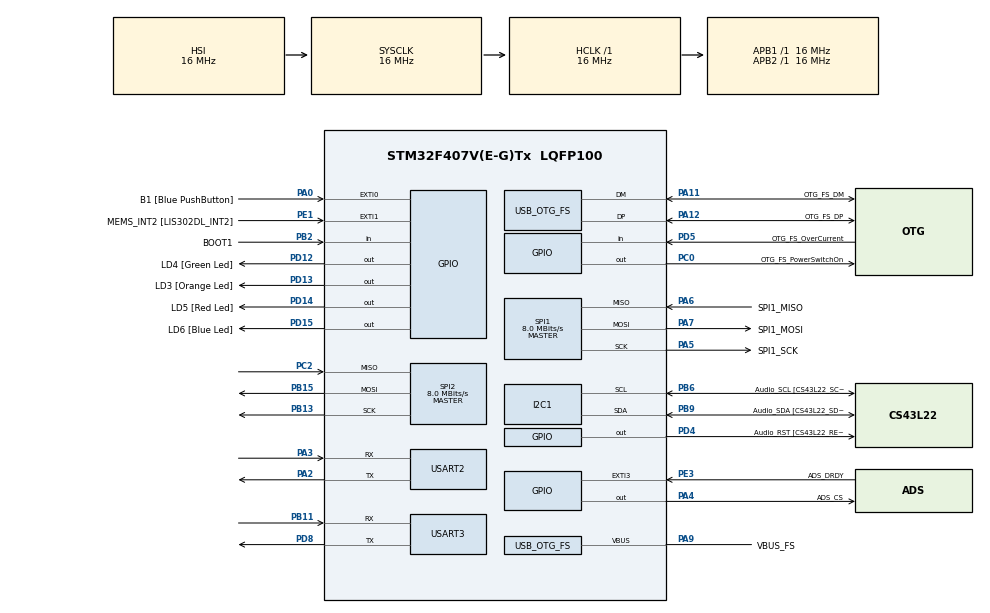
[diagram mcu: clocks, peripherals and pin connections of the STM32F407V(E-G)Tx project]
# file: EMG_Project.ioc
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Dma.Request0=USART3_TX
Dma.USART3_TX.0.Direction=DMA_MEMORY_TO_PERIPH
Dma.USART3_TX.0.FIFOMode=DMA_FIFOMODE_DISABLE
Dma.USART3_TX.0.Instance=DMA1_Stream3
Dma.USART3_TX.0.MemDataAlignment=DMA_MDATAALIGN_BYTE
Dma.USART3_TX.0.MemInc=DMA_MINC_ENABLE
Dma.USART3_TX.0.Mode=DMA_NORMAL
Dma.USART3_TX.0.PeriphDataAlignment=DMA_PDATAALIGN_BYTE
Dma.USART3_TX.0.PeriphInc=DMA_PINC_DISABLE
Dma.USART3_TX.0.Priority=DMA_PRIORITY_LOW
Mcu.Family=STM32F4
Mcu.Name=STM32F407V(E-G)Tx
Mcu.Package=LQFP100
NVIC.DMA1_Stream3_IRQn=true\:0\:0\:false\:false\:true\:false\:true
NVIC.EXTI3_IRQn=true\:0\:0\:false\:false\:true\:true\:true
NVIC.OTG_FS_IRQn=true\:0\:0\:false\:false\:true\:true\:true
NVIC.PriorityGroup=NVIC_PRIORITYGROUP_0
NVIC.USART2_IRQn=true\:0\:0\:false\:false\:true\:true\:true
NVIC.USART3_IRQn=true\:0\:0\:false\:false\:true\:true\:true
PA0-WKUP.GPIO_Label=B1 [Blue PushButton]
PA0-WKUP.GPIO_ModeDefaultEXTI=GPIO_MODE_EVT_RISING
PA0-WKUP.GPIO_PuPd=GPIO_NOPULL
PA0-WKUP.Signal=GPXTI0
PA10.GPIO_Label=OTG_FS_ID
PA10.GPIO_Mode=GPIO_MODE_AF_PP
PA10.GPIO_PuPd=GPIO_NOPULL
PA10.GPIO_Speed=GPIO_SPEED_FREQ_LOW
PA10.Signal=USB_OTG_FS_ID
PA11.GPIO_Label=OTG_FS_DM
PA11.GPIO_Mode=GPIO_MODE_AF_PP
PA11.GPIO_PuPd=GPIO_NOPULL
PA11.GPIO_Speed=GPIO_SPEED_FREQ_LOW
PA11.Mode=Host_Only
PA11.Signal=USB_OTG_FS_DM
PA12.GPIO_Label=OTG_FS_DP
PA12.GPIO_Mode=GPIO_MODE_AF_PP
PA12.GPIO_PuPd=GPIO_NOPULL
PA12.GPIO_Speed=GPIO_SPEED_FREQ_LOW
PA12.Mode=Host_Only
PA12.Signal=USB_OTG_FS_DP
PA13.GPIO_Label=SWDIO
PA13.Mode=Serial_Wire
PA13.Signal=SYS_JTMS-SWDIO
PA14.GPIO_Label=SWCLK
PA14.Mode=Serial_Wire
PA14.Signal=SYS_JTCK-SWCLK
PA2.Mode=Asynchronous
PA2.Signal=USART2_TX
PA3.Mode=Asynchronous
PA3.Signal=USART2_RX
PA4.GPIO_Label=ADS_CS
PA4.PinState=GPIO_PIN_SET
PA4.Signal=GPIO_Output
PA5.GPIO_Label=SPI1_SCK
PA5.GPIO_Mode=GPIO_MODE_AF_PP
PA5.GPIO_PuPd=GPIO_NOPULL
PA5.GPIO_Speed=GPIO_SPEED_FREQ_LOW
PA5.Mode=Full_Duplex_Master
PA5.Signal=SPI1_SCK
PA6.GPIO_Label=SPI1_MISO
PA6.GPIO_Mode=GPIO_MODE_AF_PP
PA6.GPIO_PuPd=GPIO_NOPULL
PA6.GPIO_Speed=GPIO_SPEED_FREQ_LOW
PA6.Mode=Full_Duplex_Master
PA6.Signal=SPI1_MISO
PA7.GPIO_Label=SPI1_MOSI
PA7.GPIO_Mode=GPIO_MODE_AF_PP
PA7.GPIO_PuPd=GPIO_NOPULL
PA7.GPIO_Speed=GPIO_SPEED_FREQ_LOW
PA7.Mode=Full_Duplex_Master
PA7.Signal=SPI1_MOSI
PA9.GPIO_Label=VBUS_FS
PA9.GPIO_Mode=GPIO_MODE_INPUT
PA9.GPIO_PuPd=GPIO_NOPULL
PA9.Mode=Activate_VBUS
PA9.Signal=USB_OTG_FS_VBUS
PB10.GPIO_Label=CLK_IN [MP45DT02_CLK]
PB10.GPIO_Mode=GPIO_MODE_AF_PP
PB10.GPIO_PuPd=GPIO_NOPULL
PB10.GPIO_Speed=GPIO_SPEED_FREQ_LOW
PB10.Signal=I2S2_CK
PB11.Mode=Asynchronous
PB11.Signal=USART3_RX
PB13.Mode=Full_Duplex_Master
PB13.Signal=SPI2_SCK
PB15.Mode=Full_Duplex_Master
PB15.Signal=SPI2_MOSI
PB2.GPIO_Label=BOOT1
PB2.GPIO_Mode=GPIO_MODE_INPUT
PB2.GPIO_PuPd=GPIO_NOPULL
PB2.Signal=GPIO_Input
PB3.GPIO_Label=SWO
PB3.Signal=SYS_JTDO-SWO
PB6.GPIO_Label=Audio_SCL [CS43L22_SCL]
PB6.GPIO_Mode=GPIO_MODE_AF_OD
PB6.GPIO_PuPd=GPIO_NOPULL
PB6.GPIO_Speed=GPIO_SPEED_FREQ_LOW
PB6.Mode=I2C
PB6.Signal=I2C1_SCL
PB9.GPIO_Label=Audio_SDA [CS43L22_SDA]
PB9.GPIO_Mode=GPIO_MODE_AF_OD
PB9.GPIO_PuPd=GPIO_NOPULL
PB9.GPIO_Speed=GPIO_SPEED_FREQ_LOW
PB9.Mode=I2C
PB9.Signal=I2C1_SDA
PC0.GPIO_Label=OTG_FS_PowerSwitchOn
PC0.GPIO_PuPd=GPIO_NOPULL
PC0.GPIO_Speed=GPIO_SPEED_FREQ_LOW
PC0.PinState=GPIO_PIN_SET
PC0.Signal=GPIO_Output
PC10.GPIO_Label=I2S3_SCK [CS43L22_SCLK]
PC10.GPIO_Mode=GPIO_MODE_AF_PP
PC10.GPIO_PuPd=GPIO_NOPULL
PC10.GPIO_Speed=GPIO_SPEED_FREQ_LOW
PC10.Signal=I2S3_CK
PC12.GPIO_Label=I2S3_SD [CS43L22_SDIN]
PC12.GPIO_Mode=GPIO_MODE_AF_PP
PC12.GPIO_PuPd=GPIO_NOPULL
PC12.GPIO_Speed=GPIO_SPEED_FREQ_LOW
PC12.Signal=I2S3_SD
PC14-OSC32_IN.GPIO_Label=PC14-OSC32_IN
PC14-OSC32_IN.Mode=LSE-External-Oscillator
PC14-OSC32_IN.Signal=RCC_OSC32_IN
PC15-OSC32_OUT.GPIO_Label=PC15-OSC32_OUT
PC15-OSC32_OUT.Mode=LSE-External-Oscillator
PC15-OSC32_OUT.Signal=RCC_OSC32_OUT
PC2.Mode=Full_Duplex_Master
PC2.Signal=SPI2_MISO
PC3.GPIO_Label=PDM_OUT [MP45DT02_DOUT]
PC3.GPIO_Mode=GPIO_MODE_AF_PP
PC3.GPIO_PuPd=GPIO_NOPULL
PC3.GPIO_Speed=GPIO_SPEED_FREQ_LOW
PC3.Signal=I2S2_SD
PC7.GPIO_Label=I2S3_MCK [CS43L22_MCLK]
PC7.GPIO_Mode=GPIO_MODE_AF_PP
PC7.GPIO_PuPd=GPIO_NOPULL
PC7.GPIO_Speed=GPIO_SPEED_FREQ_LOW
PC7.Signal=I2S3_MCK
PD12.GPIO_Label=LD4 [Green Led]
PD12.GPIO_PuPd=GPIO_NOPULL
PD12.GPIO_Speed=GPIO_SPEED_FREQ_LOW
PD12.Signal=GPIO_Output
PD13.GPIO_Label=LD3 [Orange Led]
PD13.GPIO_PuPd=GPIO_NOPULL
PD13.GPIO_Speed=GPIO_SPEED_FREQ_LOW
PD13.Signal=GPIO_Output
PD14.GPIO_Label=LD5 [Red Led]
PD14.GPIO_PuPd=GPIO_NOPULL
PD14.GPIO_Speed=GPIO_SPEED_FREQ_LOW
PD14.Signal=GPIO_Output
PD15.GPIO_Label=LD6 [Blue Led]
PD15.GPIO_PuPd=GPIO_NOPULL
PD15.GPIO_Speed=GPIO_SPEED_FREQ_LOW
PD15.Signal=GPIO_Output
PD4.GPIO_Label=Audio_RST [CS43L22_RESET]
PD4.GPIO_PuPd=GPIO_NOPULL
PD4.GPIO_Speed=GPIO_SPEED_FREQ_LOW
PD4.Signal=GPIO_Output
PD5.GPIO_Label=OTG_FS_OverCurrent
PD5.GPIO_Mode=GPIO_MODE_INPUT
PD5.GPIO_PuPd=GPIO_NOPULL
PD5.Signal=GPIO_Input
PD8.Mode=Asynchronous
PD8.Signal=USART3_TX
PE1.GPIO_Label=MEMS_INT2 [LIS302DL_INT2]
PE1.GPIO_ModeDefaultEXTI=GPIO_MODE_EVT_RISING
PE1.GPIO_PuPd=GPIO_NOPULL
PE1.Signal=GPXTI1
PE3.GPIO_Label=ADS_DRDY
PE3.GPIO_PuPd=GPIO_PULLDOWN
PE3.Signal=GPXTI3
PH0-OSC_IN.GPIO_Label=PH0-OSC_IN
PH0-OSC_IN.Mode=HSE-External-Oscillator
PH0-OSC_IN.Signal=RCC_OSC_IN
PH1-OSC_OUT.GPIO_Label=PH1-OSC_OUT
PH1-OSC_OUT.Mode=HSE-External-Oscillator
PH1-OSC_OUT.Signal=RCC_OSC_OUT
ProjectManager.HeapSize=0x200
ProjectManager.StackSize=0x400
ProjectManager.TargetToolchain=SW4STM32
RCC.48MHZClocksFreq_Value=48000000
RCC.AHBFreq_Value=16000000
RCC.APB1Freq_Value=16000000
RCC.APB1TimFreq_Value=16000000
RCC.APB2Freq_Value=16000000
RCC.APB2TimFreq_Value=16000000
RCC.CortexFreq_Value=16000000
RCC.HCLKFreq_Value=16000000
RCC.HSE_VALUE=16000000
RCC.HSI_VALUE=16000000
RCC.PLLM=8
RCC.PLLN=72
RCC.PLLQ=3
RCC.SYSCLKFreq_VALUE=16000000
RCC.VCOOutputFreq_Value=144000000
SPI1.BaudRatePrescaler-Full_Duplex_Master=SPI_BAUDRATEPRESCALER_2
SPI1.CLKPhase=SPI_PHASE_2EDGE
SPI1.CalculateBaudRate=8.0 MBits/s
SPI1.CalculateBaudRate-Full_Duplex_Master=42.0 MBits/s
SPI1.Direction=SPI_DIRECTION_2LINES
SPI1.Mode=SPI_MODE_MASTER
SPI1.Mode-Full_Duplex_Master=SPI_MODE_MASTER
SPI1.VirtualType=VM_MASTER
SPI2.CLKPhase=SPI_PHASE_2EDGE
SPI2.CalculateBaudRate=8.0 MBits/s
SPI2.Direction=SPI_DIRECTION_2LINES
SPI2.Mode=SPI_MODE_MASTER
SPI2.VirtualType=VM_MASTER
USART2.VirtualMode=VM_ASYNC
USART3.VirtualMode=VM_ASYNC
USB_HOST.BSP.number=1
USB_HOST.USBH_HandleTypeDef-CDC_FS=hUsbHostFS
USB_HOST.VirtualModeFS=Cdc
USB_HOST0.BSP.STBoard=false
USB_HOST0.BSP.api=Unknown
USB_HOST0.BSP.i2caddr=0
USB_HOST0.BSP.i2creg=0
USB_HOST0.BSP.instance=PC0
USB_HOST0.BSP.ip=GPIO
USB_HOST0.BSP.mode=Output
USB_HOST0.BSP.name=Drive_VBUS_FS
USB_HOST0.BSP.solution=PC0
USB_OTG_FS.VirtualMode=Host_Only
USB_OTG_FS.phy_itface=HCD_PHY_EMBEDDED
VP_USB_HOST_VS_USB_HOST_CDC_FS.Mode=CDC_FS
board=STM32F407G-DISC1

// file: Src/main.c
/* USER CODE BEGIN Header */
/**
  ******************************************************************************
  * @file           : main.c
  * @brief          : Main program body
  ******************************************************************************
  * @attention
  *
  * <h2><center>&copy; Copyright (c) 2020 STMicroelectronics.
  * All rights reserved.</center></h2>
  *
  * This software component is licensed by ST under Ultimate Liberty license
  * SLA0044, the "License"; You may not use this file except in compliance with
  * the License. You may obtain a copy of the License at:
  *                             www.st.com/SLA0044
  *
  ******************************************************************************
  */
/* USER CODE END Header */

#include "main.h"
#include "usb_host.h"

/* USER CODE BEGIN Includes */
#include "ADS1292.h"

/* USER CODE END Includes */

I2C_HandleTypeDef hi2c1;

SPI_HandleTypeDef hspi1;
SPI_HandleTypeDef hspi2;

UART_HandleTypeDef huart2;
UART_HandleTypeDef huart3;
DMA_HandleTypeDef hdma_usart3_tx;

void SystemClock_Config(void);
static void MX_GPIO_Init(void);
static void MX_I2C1_Init(void);
static void MX_SPI1_Init(void);
static void MX_SPI2_Init(void);
static void MX_USART2_UART_Init(void);
static void MX_USART3_UART_Init(void);
static void MX_DMA_Init(void);
void MX_USB_HOST_Process(void);

/* USER CODE BEGIN PFP */
void UART_Send(uint8_t* cmd);
void UART_Send2Byte(uint8_t* fb);
void UART_Send4Byte(uint8_t* fb);

/* USER CODE END PFP */

int main(void)
{

  /* MCU Configuration--------------------------------------------------------*/

  /* Reset of all peripherals, Initializes the Flash interface and the Systick. */
  HAL_Init();

  /* Configure the system clock */
  SystemClock_Config();

  /* Initialize all configured peripherals */
  MX_GPIO_Init();
  MX_I2C1_Init();
  MX_SPI1_Init();
  MX_SPI2_Init();
  MX_USART2_UART_Init();
  MX_USART3_UART_Init();
  MX_USB_HOST_Init();
  MX_DMA_Init();

  /* Infinite loop */
  while (1)
  {
    MX_USB_HOST_Process();

    /* USER CODE BEGIN 3 */
      if(intDRDY){
          intDRDY = false;
          ADS_RDATA();
          ADS_START();
      }
  }
  /* USER CODE END 3 */
}

void SystemClock_Config(void)
{
  RCC_OscInitTypeDef RCC_OscInitStruct = {0};
  RCC_ClkInitTypeDef RCC_ClkInitStruct = {0};

  /** Configure the main internal regulator output voltage
  */
  __HAL_RCC_PWR_CLK_ENABLE();
  __HAL_PWR_VOLTAGESCALING_CONFIG(PWR_REGULATOR_VOLTAGE_SCALE1);
  /** Initializes the CPU, AHB and APB busses clocks
  */
  RCC_OscInitStruct.OscillatorType = RCC_OSCILLATORTYPE_HSI|RCC_OSCILLATORTYPE_HSE;
  RCC_OscInitStruct.HSEState = RCC_HSE_ON;
  RCC_OscInitStruct.HSIState = RCC_HSI_ON;
  RCC_OscInitStruct.HSICalibrationValue = RCC_HSICALIBRATION_DEFAULT;
  RCC_OscInitStruct.PLL.PLLState = RCC_PLL_ON;
  RCC_OscInitStruct.PLL.PLLSource = RCC_PLLSOURCE_HSE;
  RCC_OscInitStruct.PLL.PLLM = 8;
  RCC_OscInitStruct.PLL.PLLN = 72;
  RCC_OscInitStruct.PLL.PLLP = RCC_PLLP_DIV2;
  RCC_OscInitStruct.PLL.PLLQ = 3;
  if (HAL_RCC_OscConfig(&RCC_OscInitStruct) != HAL_OK)
  {
    Error_Handler();
  }
  /** Initializes the CPU, AHB and APB busses clocks
  */
  RCC_ClkInitStruct.ClockType = RCC_CLOCKTYPE_HCLK|RCC_CLOCKTYPE_SYSCLK
                              |RCC_CLOCKTYPE_PCLK1|RCC_CLOCKTYPE_PCLK2;
  RCC_ClkInitStruct.SYSCLKSource = RCC_SYSCLKSOURCE_HSI;
  RCC_ClkInitStruct.AHBCLKDivider = RCC_SYSCLK_DIV1;
  RCC_ClkInitStruct.APB1CLKDivider = RCC_HCLK_DIV1;
  RCC_ClkInitStruct.APB2CLKDivider = RCC_HCLK_DIV1;

  if (HAL_RCC_ClockConfig(&RCC_ClkInitStruct, FLASH_LATENCY_0) != HAL_OK)
  {
    Error_Handler();
  }
}

static void MX_I2C1_Init(void)
{

  hi2c1.Instance = I2C1;
  hi2c1.Init.ClockSpeed = 100000;
  hi2c1.Init.DutyCycle = I2C_DUTYCYCLE_2;
  hi2c1.Init.OwnAddress1 = 0;
  hi2c1.Init.AddressingMode = I2C_ADDRESSINGMODE_7BIT;
  hi2c1.Init.DualAddressMode = I2C_DUALADDRESS_DISABLE;
  hi2c1.Init.OwnAddress2 = 0;
  hi2c1.Init.GeneralCallMode = I2C_GENERALCALL_DISABLE;
  hi2c1.Init.NoStretchMode = I2C_NOSTRETCH_DISABLE;
  if (HAL_I2C_Init(&hi2c1) != HAL_OK)
  {
    Error_Handler();
  }

}

static void MX_SPI1_Init(void)
{

  /* SPI1 parameter configuration*/
  hspi1.Instance = SPI1;
  hspi1.Init.Mode = SPI_MODE_MASTER;
  hspi1.Init.Direction = SPI_DIRECTION_2LINES;
  hspi1.Init.DataSize = SPI_DATASIZE_8BIT;
  hspi1.Init.CLKPolarity = SPI_POLARITY_LOW;
  hspi1.Init.CLKPhase = SPI_PHASE_2EDGE;
  hspi1.Init.NSS = SPI_NSS_SOFT;
  hspi1.Init.BaudRatePrescaler = SPI_BAUDRATEPRESCALER_2;
  hspi1.Init.FirstBit = SPI_FIRSTBIT_MSB;
  hspi1.Init.TIMode = SPI_TIMODE_DISABLE;
  hspi1.Init.CRCCalculation = SPI_CRCCALCULATION_DISABLE;
  hspi1.Init.CRCPolynomial = 10;
  if (HAL_SPI_Init(&hspi1) != HAL_OK)
  {
    Error_Handler();
  }

}

static void MX_SPI2_Init(void)
{

  /* SPI2 parameter configuration*/
  hspi2.Instance = SPI2;
  hspi2.Init.Mode = SPI_MODE_MASTER;
  hspi2.Init.Direction = SPI_DIRECTION_2LINES;
  hspi2.Init.DataSize = SPI_DATASIZE_8BIT;
  hspi2.Init.CLKPolarity = SPI_POLARITY_LOW;
  hspi2.Init.CLKPhase = SPI_PHASE_2EDGE;
  hspi2.Init.NSS = SPI_NSS_SOFT;
  hspi2.Init.BaudRatePrescaler = SPI_BAUDRATEPRESCALER_2;
  hspi2.Init.FirstBit = SPI_FIRSTBIT_MSB;
  hspi2.Init.TIMode = SPI_TIMODE_DISABLE;
  hspi2.Init.CRCCalculation = SPI_CRCCALCULATION_DISABLE;
  hspi2.Init.CRCPolynomial = 10;
  if (HAL_SPI_Init(&hspi2) != HAL_OK)
  {
    Error_Handler();
  }

}

static void MX_USART2_UART_Init(void)
{

  huart2.Instance = USART2;
  huart2.Init.BaudRate = 115200;
  huart2.Init.WordLength = UART_WORDLENGTH_8B;
  huart2.Init.StopBits = UART_STOPBITS_1;
  huart2.Init.Parity = UART_PARITY_NONE;
  huart2.Init.Mode = UART_MODE_TX_RX;
  huart2.Init.HwFlowCtl = UART_HWCONTROL_NONE;
  huart2.Init.OverSampling = UART_OVERSAMPLING_16;
  if (HAL_UART_Init(&huart2) != HAL_OK)
  {
    Error_Handler();
  }

}

static void MX_USART3_UART_Init(void)
{

  huart3.Instance = USART3;
  huart3.Init.BaudRate = 115200;
  huart3.Init.WordLength = UART_WORDLENGTH_8B;
  huart3.Init.StopBits = UART_STOPBITS_1;
  huart3.Init.Parity = UART_PARITY_NONE;
  huart3.Init.Mode = UART_MODE_TX_RX;
  huart3.Init.HwFlowCtl = UART_HWCONTROL_NONE;
  huart3.Init.OverSampling = UART_OVERSAMPLING_16;
  if (HAL_UART_Init(&huart3) != HAL_OK)
  {
    Error_Handler();
  }

}

static void MX_DMA_Init(void)
{

  /* DMA controller clock enable */
  __HAL_RCC_DMA1_CLK_ENABLE();

  /* DMA interrupt init */
  /* DMA1_Stream3_IRQn interrupt configuration */
  HAL_NVIC_SetPriority(DMA1_Stream3_IRQn, 0, 0);
  HAL_NVIC_EnableIRQ(DMA1_Stream3_IRQn);

}

static void MX_GPIO_Init(void)
{
  GPIO_InitTypeDef GPIO_InitStruct = {0};

  /* GPIO Ports Clock Enable */
  __HAL_RCC_GPIOE_CLK_ENABLE();
  __HAL_RCC_GPIOC_CLK_ENABLE();
  __HAL_RCC_GPIOH_CLK_ENABLE();
  __HAL_RCC_GPIOA_CLK_ENABLE();
  __HAL_RCC_GPIOB_CLK_ENABLE();
  __HAL_RCC_GPIOD_CLK_ENABLE();

  /*Configure GPIO pin Output Level */
  HAL_GPIO_WritePin(OTG_FS_PowerSwitchOn_GPIO_Port, OTG_FS_PowerSwitchOn_Pin, GPIO_PIN_SET);

  /*Configure GPIO pin Output Level */
  HAL_GPIO_WritePin(ADS_CS_GPIO_Port, ADS_CS_Pin, GPIO_PIN_SET);

  /*Configure GPIO pin Output Level */
  HAL_GPIO_WritePin(GPIOD, LD4_Pin|LD3_Pin|LD5_Pin|LD6_Pin
                          |Audio_RST_Pin, GPIO_PIN_RESET);

  /*Configure GPIO pin : ADS_DRDY_Pin */
  GPIO_InitStruct.Pin = ADS_DRDY_Pin;
  GPIO_InitStruct.Mode = GPIO_MODE_IT_RISING;
  GPIO_InitStruct.Pull = GPIO_PULLDOWN;
  HAL_GPIO_Init(ADS_DRDY_GPIO_Port, &GPIO_InitStruct);

  /*Configure GPIO pin : OTG_FS_PowerSwitchOn_Pin */
  GPIO_InitStruct.Pin = OTG_FS_PowerSwitchOn_Pin;
  GPIO_InitStruct.Mode = GPIO_MODE_OUTPUT_PP;
  GPIO_InitStruct.Pull = GPIO_NOPULL;
  GPIO_InitStruct.Speed = GPIO_SPEED_FREQ_LOW;
  HAL_GPIO_Init(OTG_FS_PowerSwitchOn_GPIO_Port, &GPIO_InitStruct);

  /*Configure GPIO pin : PDM_OUT_Pin */
  GPIO_InitStruct.Pin = PDM_OUT_Pin;
  GPIO_InitStruct.Mode = GPIO_MODE_AF_PP;
  GPIO_InitStruct.Pull = GPIO_NOPULL;
  GPIO_InitStruct.Speed = GPIO_SPEED_FREQ_LOW;
  GPIO_InitStruct.Alternate = GPIO_AF5_SPI2;
  HAL_GPIO_Init(PDM_OUT_GPIO_Port, &GPIO_InitStruct);

  /*Configure GPIO pin : B1_Pin */
  GPIO_InitStruct.Pin = B1_Pin;
  GPIO_InitStruct.Mode = GPIO_MODE_EVT_RISING;
  GPIO_InitStruct.Pull = GPIO_NOPULL;
  HAL_GPIO_Init(B1_GPIO_Port, &GPIO_InitStruct);

  /*Configure GPIO pin : ADS_CS_Pin */
  GPIO_InitStruct.Pin = ADS_CS_Pin;
  GPIO_InitStruct.Mode = GPIO_MODE_OUTPUT_PP;
  GPIO_InitStruct.Pull = GPIO_NOPULL;
  GPIO_InitStruct.Speed = GPIO_SPEED_FREQ_LOW;
  HAL_GPIO_Init(ADS_CS_GPIO_Port, &GPIO_InitStruct);

  /*Configure GPIO pin : BOOT1_Pin */
  GPIO_InitStruct.Pin = BOOT1_Pin;
  GPIO_InitStruct.Mode = GPIO_MODE_INPUT;
  GPIO_InitStruct.Pull = GPIO_NOPULL;
  HAL_GPIO_Init(BOOT1_GPIO_Port, &GPIO_InitStruct);

  /*Configure GPIO pin : CLK_IN_Pin */
  GPIO_InitStruct.Pin = CLK_IN_Pin;
  GPIO_InitStruct.Mode = GPIO_MODE_AF_PP;
  GPIO_InitStruct.Pull = GPIO_NOPULL;
  GPIO_InitStruct.Speed = GPIO_SPEED_FREQ_LOW;
  GPIO_InitStruct.Alternate = GPIO_AF5_SPI2;
  HAL_GPIO_Init(CLK_IN_GPIO_Port, &GPIO_InitStruct);

  /*Configure GPIO pins : LD4_Pin LD3_Pin LD5_Pin LD6_Pin
                           Audio_RST_Pin */
  GPIO_InitStruct.Pin = LD4_Pin|LD3_Pin|LD5_Pin|LD6_Pin
                          |Audio_RST_Pin;
  GPIO_InitStruct.Mode = GPIO_MODE_OUTPUT_PP;
  GPIO_InitStruct.Pull = GPIO_NOPULL;
  GPIO_InitStruct.Speed = GPIO_SPEED_FREQ_LOW;
  HAL_GPIO_Init(GPIOD, &GPIO_InitStruct);

  /*Configure GPIO pins : I2S3_MCK_Pin I2S3_SCK_Pin I2S3_SD_Pin */
  GPIO_InitStruct.Pin = I2S3_MCK_Pin|I2S3_SCK_Pin|I2S3_SD_Pin;
  GPIO_InitStruct.Mode = GPIO_MODE_AF_PP;
  GPIO_InitStruct.Pull = GPIO_NOPULL;
  GPIO_InitStruct.Speed = GPIO_SPEED_FREQ_LOW;
  GPIO_InitStruct.Alternate = GPIO_AF6_SPI3;
  HAL_GPIO_Init(GPIOC, &GPIO_InitStruct);

  /*Configure GPIO pin : OTG_FS_OverCurrent_Pin */
  GPIO_InitStruct.Pin = OTG_FS_OverCurrent_Pin;
  GPIO_InitStruct.Mode = GPIO_MODE_INPUT;
  GPIO_InitStruct.Pull = GPIO_NOPULL;
  HAL_GPIO_Init(OTG_FS_OverCurrent_GPIO_Port, &GPIO_InitStruct);

  /*Configure GPIO pin : MEMS_INT2_Pin */
  GPIO_InitStruct.Pin = MEMS_INT2_Pin;
  GPIO_InitStruct.Mode = GPIO_MODE_EVT_RISING;
  GPIO_InitStruct.Pull = GPIO_NOPULL;
  HAL_GPIO_Init(MEMS_INT2_GPIO_Port, &GPIO_InitStruct);

  /* EXTI interrupt init*/
  HAL_NVIC_SetPriority(EXTI3_IRQn, 0, 0);
  HAL_NVIC_EnableIRQ(EXTI3_IRQn);

}

/* USER CODE BEGIN 4 */

//======== SPI =======
uint8_t transferSPI(uint8_t send){
    uint8_t rx = 0x00;

    HAL_SPI_TransmitReceive(&hspi1, &send, &rx, sizeof(rx),0x1000);

    return rx;
}

//======== USART =======
void UART_Send(uint8_t* cmd){
    uint8_t* ptr = cmd;
    int size = 0;

    while(*cmd++)
        size++;

    //while( HAL_UART_Transmit(&huart3, ptr, size, 0x1000) != HAL_OK);
    HAL_UART_Transmit(&huart3, ptr, size, 0x1000);

}

void UART_Send2Byte(uint8_t* fb){
    //while( HAL_UART_Transmit(&huart3, fb, sizeof(int32_t), 0x1000) != HAL_OK);
    HAL_UART_Transmit(&huart3, fb, 2*sizeof(int8_t), 0x1000);
    UART_Send("\r\n");
}

void UART_Send4Byte(uint8_t* fb) {
    //while( HAL_UART_Transmit(&huart3, fb, sizeof(int32_t), 0x1000) != HAL_OK);
    HAL_UART_Transmit(&huart3, fb, sizeof(int32_t), 0x1000);
    UART_Send("\r\n");
}

/* --------------- Inetrrupts ------------------------------------------*/
void HAL_GPIO_EXTI_Callback(uint16_t GPIO_Pin){
    if(GPIO_Pin == GPIO_PIN_13){
        intDRDY = true;
    }
}

void HAL_UART_RxCpltCallback(UART_HandleTypeDef *huart){
    if(huart == &huart3){
        // If you use esp8266.c uncomment this
        //addRingBuffer(ansESP);
        //HAL_UART_Receive_IT(&huart3, &ansESP, 1);
    }
}

void HAL_UART_ErrorCallback(UART_HandleTypeDef *huart){

}
/* USER CODE END 4 */

void Error_Handler(void)
{
}

/************************ (C) COPYRIGHT STMicroelectronics *****END OF FILE****/
